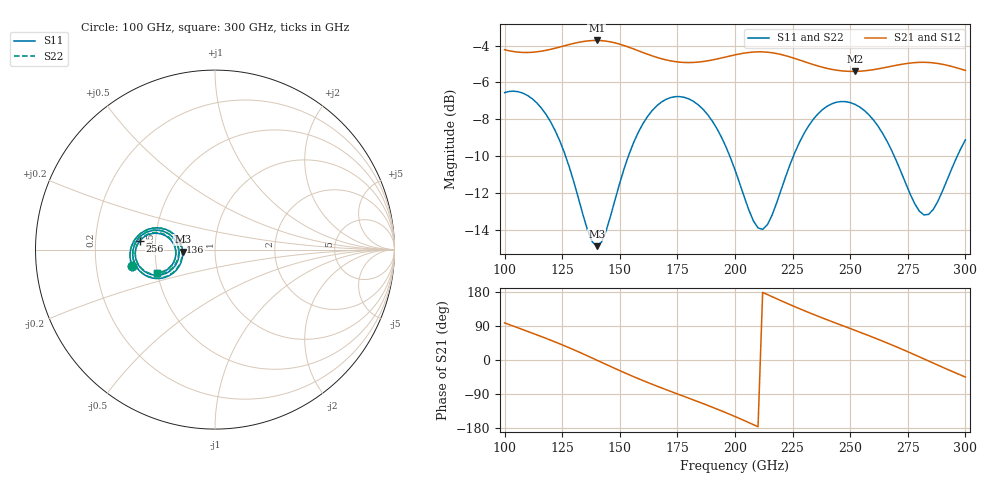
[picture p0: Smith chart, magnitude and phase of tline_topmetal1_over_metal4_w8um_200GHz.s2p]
#  GHZ S DB R 50
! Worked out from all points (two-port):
!   101 points, 100 GHz to 300 GHz, reference 50 ohm
!   highest |S21| = -3.72 dB at 140 GHz (marker M1); lowest = -5.4 dB at 252 GHz (marker M2)
!   |S21| within 3 dB of the highest: start of sweep to end of sweep
!   lowest |S11| = -14.9 dB at 140 GHz (marker M3), VSWR 1.44, Z = 34.7 - j0.766 ohm
!   |S11| at or under -10 dB: 126.5 GHz to 153.7 GHz (27.24 GHz wide, 19.4 % of centre); 197.8 GHz to 225.3 GHz (27.57 GHz wide, 13 % of centre); 269.1 GHz to 296.5 GHz (27.32 GHz wide, 9.66 % of centre)
!   |S22| runs from -14.7 to -6.5 dB; largest |S21 - S12| = 7e-14
!   S11 on the Smith chart (normalised r, x): 100 GHz: 0.36, -0.09; 136 GHz: 0.67, +0.06; 256 GHz: 0.41, +0.05; 300 GHz: 0.50, -0.15
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100  -6.55 -168.7  -4.22 98.0  -4.22 98.0  -6.54 -168.8
108  -6.58 179.3  -4.37 80.0  -4.37 80.0  -6.57 179.3
118  -7.73 165.7  -4.26 57.0  -4.26 57.0  -7.71 165.8
126  -9.83 158.3  -4.01 37.4  -4.01 37.4  -9.78 158.5
134  -13.17 162.5  -3.78 16.3  -3.78 16.3  -13.07 162.7
136  -14.01 167.7  -3.75 10.8  -3.75 10.8  -13.89 167.8
140  -14.88 -176.6  -3.72 -0.3  -3.72 -0.3  -14.73 -176.8
146  -13.24 -155.4  -3.80 -17.1  -3.80 -17.1  -13.14 -156.0
154  -9.90 -150.9  -4.09 -38.8  -4.09 -38.8  -9.86 -151.5
168  -7.07 -166.0  -4.71 -73.4  -4.71 -73.4  -7.05 -166.4
184  -7.21 172.9  -4.89 -110.1  -4.89 -110.1  -7.19 172.7
200  -10.74 160.6  -4.50 -149.2  -4.50 -149.2  -10.69 160.5
212  -13.97 -174.9  -4.34 178.4  -4.34 178.4  -13.85 -175.4
224  -10.42 -154.1  -4.62 145.8  -4.62 145.8  -10.37 -155.0
234  -7.99 -160.8  -5.03 120.5  -5.03 120.5  -7.98 -161.5
252  -7.18 177.9  -5.40 78.4  -5.40 78.4  -7.18 177.2
256  -7.50 173.4  -5.37 69.1  -5.37 69.1  -7.51 172.6
268  -9.69 164.0  -5.12 40.0  -5.12 40.0  -9.71 163.3
276  -12.04 168.1  -4.95 19.1  -4.95 19.1  -12.08 167.3
284  -13.15 -173.0  -4.91 -2.5  -4.91 -2.5  -13.21 -173.6
292  -11.30 -158.2  -5.07 -24.2  -5.07 -24.2  -11.34 -158.6
300  -9.11 -157.9  -5.35 -45.0  -5.35 -45.0  -9.14 -158.4
